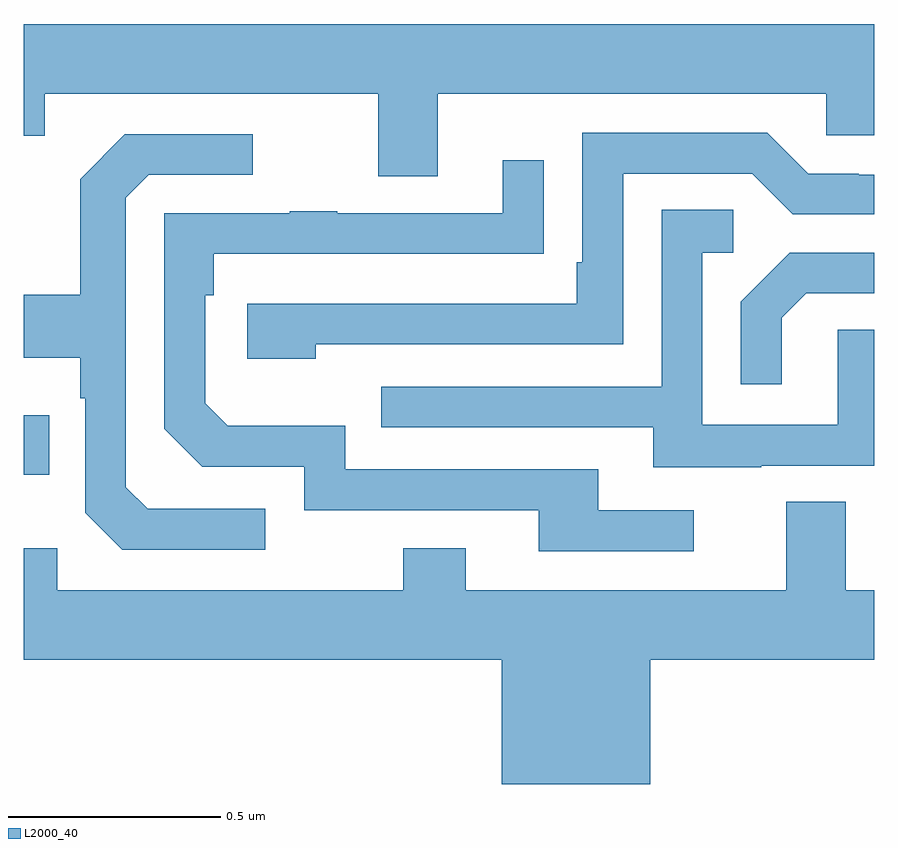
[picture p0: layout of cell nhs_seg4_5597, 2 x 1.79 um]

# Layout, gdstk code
import gdstk
lib = gdstk.Library(unit=1e-6, precision=1e-09)
def R(c, l, rs):  # rectangles x0, y0, x1, y1
    for r in rs: c.add(gdstk.rectangle(r[:2], r[2:], *l))
def P(c, l, *ps):  # polygons
    for p in ps: c.add(gdstk.Polygon(p, *l))
L2000_40 = (2000, 40)

nhs_seg4_5597 = lib.new_cell('nhs_seg4_5597')
R(nhs_seg4_5597, L2000_40, [(180,758.627,180.059,758.767)])
P(nhs_seg4_5597, L2000_40, [(180.973,759.524),(181.887,759.524),(181.887,759.426),(182,759.426),(182,759.688),(180,759.688),(180,759.425),(180.049,759.425),(180.049,759.524),(180.833,759.524),(180.833,759.33),(180.973,759.33)],
  [(180.686,758.934),(181.41,758.934),(181.41,759.336),(181.713,759.336),(181.809,759.24),(182,759.24),(182,759.333),(181.964,759.333),(181.964,759.336),(181.845,759.336),(181.749,759.432),(181.314,759.432),(181.314,759.127),(181.301,759.127),(181.301,759.03),(180.525,759.03),(180.525,758.9),(180.686,758.9)],
  [(180.568,758.547),(180.291,758.547),(180.24,758.598),(180.24,759.279),(180.294,759.333),(180.538,759.333),(180.538,759.429),(180.237,759.429),(180.132,759.323),(180.132,759.051),(180,759.051),(180,758.903),(180.132,758.903),(180.132,758.807),(180.144,758.807),(180.144,758.538),(180.231,758.451),(180.568,758.451)],
  [(181.576,758.544),(181.351,758.544),(181.351,758.64),(180.756,758.64),(180.756,758.743),(180.479,758.743),(180.426,758.796),(180.426,759.05),(180.446,759.05),(180.446,759.147),(181.121,759.147),(181.121,759.148),(181.223,759.148),(181.223,759.367),(181.127,759.367),(181.127,759.243),(180.737,759.243),(180.737,759.248),(180.625,759.248),(180.625,759.243),(180.33,759.243),(180.33,758.736),(180.42,758.646),(180.66,758.646),(180.66,758.544),(181.211,758.544),(181.211,758.448),(181.576,758.448)],
  [(181.735,758.649),(182,758.649),(182,758.969),(181.914,758.969),(181.914,758.745),(181.596,758.745),(181.596,759.15),(181.669,759.15),(181.669,759.251),(181.5,759.251),(181.5,758.835),(180.841,758.835),(180.841,758.739),(181.481,758.739),(181.481,758.645),(181.735,758.645)],
  [(181.783,758.997),(181.84,759.054),(182,759.054),(182,759.15),(181.802,759.15),(181.686,759.034),(181.686,758.841),(181.783,758.841)],
  [(181.474,758.192),(182,758.192),(182,758.356),(181.933,758.356),(181.933,758.564),(181.793,758.564),(181.793,758.356),(181.039,758.356),(181.039,758.455),(180.892,758.455),(180.892,758.356),(180.078,758.356),(180.078,758.455),(180,758.455),(180,758.192),(181.124,758.192),(181.124,757.9),(181.474,757.9)])

lib.write_gds('nhs_seg4_5597.gds')
